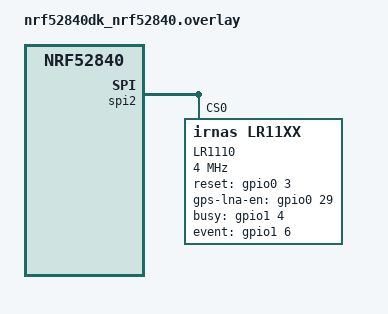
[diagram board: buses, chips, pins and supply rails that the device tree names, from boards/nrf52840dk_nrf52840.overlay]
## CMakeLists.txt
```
# SPDX-License-Identifier: Apache-2.0

cmake_minimum_required(VERSION 3.13.1)

find_package(Zephyr HINTS $ENV{ZEPHYR_BASE})
project(tx_cw)

zephyr_compile_options(-fdiagnostics-color=always)


zephyr_include_directories(.)
add_subdirectory(${CMAKE_CURRENT_SOURCE_DIR}/../common src/common)


target_sources(app PRIVATE src/main_tx_cw.c)
```

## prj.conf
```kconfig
# Enable logging (it need to be disabled for low power)
CONFIG_PRINTK=y
CONFIG_GPIO=y
CONFIG_SERIAL=y
CONFIG_CONSOLE=y
CONFIG_UART_CONSOLE=y
CONFIG_LOG=y
CONFIG_LOG_DEFAULT_LEVEL=4
CONFIG_LOG_BACKEND_UART=y

CONFIG_SPI=y
CONFIG_LR11XX_LIB=y
CONFIG_LR11XX_LOG_LEVEL_INF=y

CONFIG_PINCTRL=y
```

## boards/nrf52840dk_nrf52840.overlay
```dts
&spi1 {
    status = "disabled";
};

&spi2 {
    compatible = "nordic,nrf-spi";
    status = "okay";

    lr1110: lr1110@0 {
        compatible = "irnas,lr11xx";
        reg = <0>;
        spi-max-frequency = <4000000>;
        label = "LR1110";

        reset-gpios = <&gpio0 3 0>;
        gps-lna-en-gpios = <&gpio0 29 0>;
        busy-gpios = <&gpio1 4 0>;
        event-gpios = <&gpio1 6 0>;

        rf-sw-enable = "DIO5", "DIO6", "DIO7";
        rf-sw-standby-mode = "NONE";
        rf-sw-rx-mode = "DIO5";
        rf-sw-tx-mode = "DIO5", "DIO6";
        rf-sw-tx-hp-mode = "DIO6";
        rf-sw-tx-hf-mode = "NONE";
        rf-sw-wifi-mode = "NONE";
        rf-sw-gnss-mode = "DIO7";
    };
};
```

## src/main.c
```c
#include <stdio.h>
#include <string.h>
#include <zephyr.h>
#include <zephyr/types.h>

#include "apps_common.h"
#include "lr11xx_radio.h"

#include <logging/log.h>
LOG_MODULE_REGISTER(main);


static lr11xx_hal_context_t* context;

/**
 * @brief Main application entry point.
 */
void main( void )
{
    LOG_INF( "===== LR11xx TX CW example =====" );

    context = apps_common_lr11xx_get_context( );

    apps_common_lr11xx_system_init( context );
    apps_common_lr11xx_fetch_and_print_version( context );

    apps_common_lr11xx_radio_init( context );

    lr11xx_radio_set_tx_cw( context );

    while( 1 )
    {
        k_sleep(K_MSEC(1));
    }
}
```

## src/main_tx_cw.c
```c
/*!
 * @file      main_tx_cw.c
 *
 * @brief     Execute Tx Continuous Wave for LR11xx chip
 *
 * @copyright
 * Revised BSD License
 * Copyright Semtech Corporation 2022. All rights reserved.
 *
 * Redistribution and use in source and binary forms, with or without
 * modification, are permitted provided that the following conditions are met:
 *     * Redistributions of source code must retain the above copyright
 *       notice, this list of conditions and the following disclaimer.
 *     * Redistributions in binary form must reproduce the above copyright
 *       notice, this list of conditions and the following disclaimer in the
 *       documentation and/or other materials provided with the distribution.
 *     * Neither the name of the Semtech corporation nor the
 *       names of its contributors may be used to endorse or promote products
 *       derived from this software without specific prior written permission.
 *
 * THIS SOFTWARE IS PROVIDED BY THE COPYRIGHT HOLDERS AND CONTRIBUTORS "AS IS"
 * AND ANY EXPRESS OR IMPLIED WARRANTIES, INCLUDING, BUT NOT LIMITED TO, THE
 * IMPLIED WARRANTIES OF MERCHANTABILITY AND FITNESS FOR A PARTICULAR PURPOSE
 * ARE DISCLAIMED. IN NO EVENT SHALL SEMTECH CORPORATION BE LIABLE FOR ANY
 * DIRECT, INDIRECT, INCIDENTAL, SPECIAL, EXEMPLARY, OR CONSEQUENTIAL DAMAGES
 * (INCLUDING, BUT NOT LIMITED TO, PROCUREMENT OF SUBSTITUTE GOODS OR SERVICES;
 * LOSS OF USE, DATA, OR PROFITS; OR BUSINESS INTERRUPTION) HOWEVER CAUSED AND
 * ON ANY THEORY OF LIABILITY, WHETHER IN CONTRACT, STRICT LIABILITY, OR TORT
 * (INCLUDING NEGLIGENCE OR OTHERWISE) ARISING IN ANY WAY OUT OF THE USE OF THIS
 * SOFTWARE, EVEN IF ADVISED OF THE POSSIBILITY OF SUCH DAMAGE.
 */

/*
 * -----------------------------------------------------------------------------
 * --- DEPENDENCIES ------------------------------------------------------------
 */


#include <stdio.h>
#include <string.h>
#include <zephyr/kernel.h>
#include <zephyr/types.h>
#include <zephyr/device.h>
#include <zephyr/devicetree.h>

#include "apps_common.h"
#include "lr11xx_radio.h"

#include <zephyr/logging/log.h>
LOG_MODULE_REGISTER(main);

/*
 * -----------------------------------------------------------------------------
 * --- PRIVATE MACROS-----------------------------------------------------------
 */

/*
 * -----------------------------------------------------------------------------
 * --- PRIVATE CONSTANTS -------------------------------------------------------
 */

/*
 * -----------------------------------------------------------------------------
 * --- PRIVATE TYPES -----------------------------------------------------------
 */

/*
 * -----------------------------------------------------------------------------
 * --- PRIVATE VARIABLES -------------------------------------------------------
 */

const struct device *context = DEVICE_DT_GET(DT_NODELABEL(lr11xx));

/*
 * -----------------------------------------------------------------------------
 * --- PRIVATE FUNCTIONS DECLARATION -------------------------------------------
 */

/*
 * -----------------------------------------------------------------------------
 * --- PUBLIC FUNCTIONS DEFINITION ---------------------------------------------
 */

/**
 * @brief Main application entry point.
 */
void main( void )
{
    int ret = 0;

    LOG_INF( "===== LR11xx TX CW example =====\n" );

    apps_common_lr11xx_system_init( context );
    apps_common_lr11xx_fetch_and_print_version( context );

    apps_common_lr11xx_radio_init( context );

    ret = lr11xx_radio_set_tx_cw( context );
    if(ret)
    {
        LOG_ERR("Failed to set TX continuos wave.");
    }

    while( 1 )
    {
        k_sleep(K_MSEC(1));
    }
}
```
